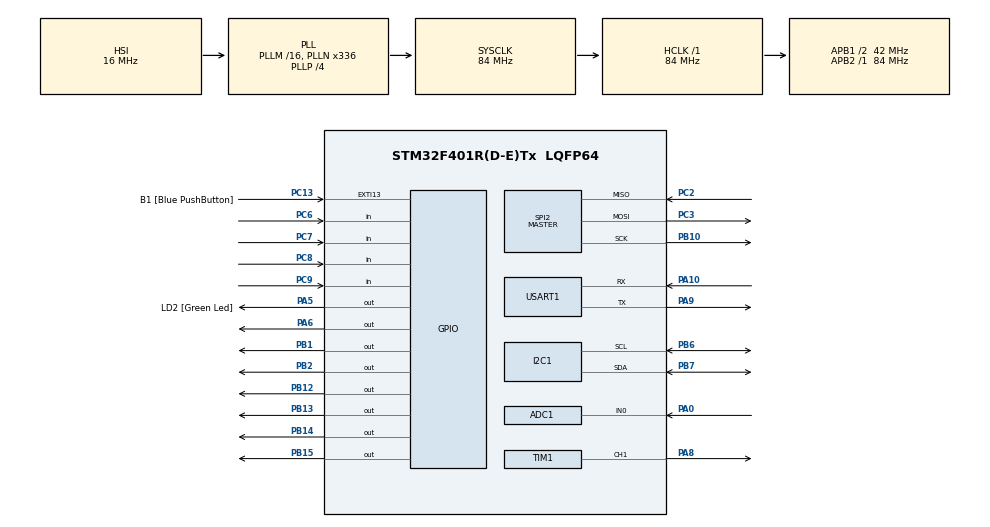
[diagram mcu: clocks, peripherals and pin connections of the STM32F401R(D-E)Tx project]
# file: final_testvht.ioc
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ADC1.Channel-0\#ChannelRegularConversion=ADC_CHANNEL_0
ADC1.NbrOfConversionFlag=1
ADC1.Rank-0\#ChannelRegularConversion=1
ADC1.SamplingTime-0\#ChannelRegularConversion=ADC_SAMPLETIME_480CYCLES
ADC1.master=1
FATFS._MAX_SS=4096
FATFS._USE_LFN=1
Mcu.Family=STM32F4
Mcu.Name=STM32F401R(D-E)Tx
Mcu.Package=LQFP64
NVIC.PriorityGroup=NVIC_PRIORITYGROUP_4
NVIC.TIM4_IRQn=true\:15\:0\:false\:false\:true\:false\:true\:true
NVIC.TimeBase=TIM4_IRQn
NVIC.TimeBaseIP=TIM4
PA0-WKUP.Signal=ADCx_IN0
PA10.Mode=Asynchronous
PA10.Signal=USART1_RX
PA13.GPIO_Label=TMS
PA13.Signal=SYS_JTMS-SWDIO
PA14.GPIO_Label=TCK
PA14.Signal=SYS_JTCK-SWCLK
PA2.GPIO_Label=USART_TX
PA2.GPIO_Mode=GPIO_MODE_AF_PP
PA2.GPIO_PuPd=GPIO_NOPULL
PA2.GPIO_Speed=GPIO_SPEED_FREQ_LOW
PA2.Signal=USART2_TX
PA3.GPIO_Label=USART_RX
PA3.GPIO_Mode=GPIO_MODE_AF_PP
PA3.GPIO_PuPd=GPIO_NOPULL
PA3.GPIO_Speed=GPIO_SPEED_FREQ_LOW
PA3.Signal=USART2_RX
PA5.GPIO_Label=LD2 [Green Led]
PA5.GPIO_Mode=GPIO_MODE_OUTPUT_PP
PA5.GPIO_PuPd=GPIO_NOPULL
PA5.GPIO_Speed=GPIO_SPEED_FREQ_LOW
PA5.Signal=GPIO_Output
PA6.Signal=GPIO_Output
PA8.Signal=S_TIM1_CH1
PA9.Mode=Asynchronous
PA9.Signal=USART1_TX
PB1.Signal=GPIO_Output
PB10.Mode=Full_Duplex_Master
PB10.Signal=SPI2_SCK
PB12.PinState=GPIO_PIN_SET
PB12.Signal=GPIO_Output
PB13.PinState=GPIO_PIN_SET
PB13.Signal=GPIO_Output
PB14.PinState=GPIO_PIN_SET
PB14.Signal=GPIO_Output
PB15.PinState=GPIO_PIN_SET
PB15.Signal=GPIO_Output
PB2.Signal=GPIO_Output
PB3.GPIO_Label=SWO
PB3.Signal=SYS_JTDO-SWO
PB6.Mode=I2C
PB6.Signal=I2C1_SCL
PB7.Mode=I2C
PB7.Signal=I2C1_SDA
PC13-ANTI_TAMP.GPIO_Label=B1 [Blue PushButton]
PC13-ANTI_TAMP.GPIO_ModeDefaultEXTI=GPIO_MODE_IT_FALLING
PC13-ANTI_TAMP.GPIO_PuPd=GPIO_NOPULL
PC13-ANTI_TAMP.Signal=GPXTI13
PC14-OSC32_IN.Signal=RCC_OSC32_IN
PC15-OSC32_OUT.Signal=RCC_OSC32_OUT
PC2.Mode=Full_Duplex_Master
PC2.Signal=SPI2_MISO
PC3.Mode=Full_Duplex_Master
PC3.Signal=SPI2_MOSI
PC6.GPIO_PuPd=GPIO_PULLUP
PC6.Signal=GPIO_Input
PC7.GPIO_PuPd=GPIO_PULLUP
PC7.Signal=GPIO_Input
PC8.GPIO_PuPd=GPIO_PULLUP
PC8.Signal=GPIO_Input
PC9.GPIO_PuPd=GPIO_PULLUP
PC9.Signal=GPIO_Input
PH0\ -\ OSC_IN.Signal=RCC_OSC_IN
PH1\ -\ OSC_OUT.Signal=RCC_OSC_OUT
ProjectManager.HeapSize=0x200
ProjectManager.StackSize=0x400
ProjectManager.TargetToolchain=STM32CubeIDE
RCC.AHBFreq_Value=84000000
RCC.APB1CLKDivider=RCC_HCLK_DIV2
RCC.APB1Freq_Value=42000000
RCC.APB1TimFreq_Value=84000000
RCC.APB2Freq_Value=84000000
RCC.APB2TimFreq_Value=84000000
RCC.CortexFreq_Value=84000000
RCC.HCLKFreq_Value=84000000
RCC.HSE_VALUE=8000000
RCC.HSI_VALUE=16000000
RCC.LSE_VALUE=32768
RCC.PLLN=336
RCC.PLLP=RCC_PLLP_DIV4
RCC.PLLQ=7
RCC.SYSCLKFreq_VALUE=84000000
RCC.SYSCLKSource=RCC_SYSCLKSOURCE_PLLCLK
RCC.VCOOutputFreq_Value=336000000
SH.ADCx_IN0.0=ADC1_IN0,IN0
SH.S_TIM1_CH1.0=TIM1_CH1,PWM Generation1 CH1
SPI2.BaudRatePrescaler=SPI_BAUDRATEPRESCALER_8
SPI2.DataSize=SPI_DATASIZE_8BIT
SPI2.Direction=SPI_DIRECTION_2LINES
SPI2.Mode=SPI_MODE_MASTER
SPI2.VirtualType=VM_MASTER
TIM1.Channel-PWM\ Generation1\ CH1=TIM_CHANNEL_1
TIM1.Period=1000-1
TIM1.Prescaler=84-1
USART1.VirtualMode=VM_ASYNC
VP_FATFS_VS_Generic.Mode=User_defined
VP_SYS_VS_tim4.Mode=TIM4
VP_TIM1_VS_ClockSourceINT.Mode=Internal
board=NUCLEO-F401RE

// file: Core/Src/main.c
/* USER CODE BEGIN Header */
/**
  ******************************************************************************
  * @file           : main.c
  * @brief          : Main program body
  ******************************************************************************
  * @attention
  *
  * Copyright (c) 2025 STMicroelectronics.
  * All rights reserved.
  *
  * This software is licensed under terms that can be found in the LICENSE file
  * in the root directory of this software component.
  * If no LICENSE file comes with this software, it is provided AS-IS.
  *
  ******************************************************************************
  */
/* USER CODE END Header */
#include "main.h"
#include "fatfs.h"

ADC_HandleTypeDef hadc1;

I2C_HandleTypeDef hi2c1;

SPI_HandleTypeDef hspi2;

TIM_HandleTypeDef htim1;

UART_HandleTypeDef huart1;

/* USER CODE BEGIN PV */
CLCD_I2C_Name LCD1;

TaskHandle_t handle_sensor_task;
TaskHandle_t handle_print_task;
TaskHandle_t handle_scan_keypad_task;
TaskHandle_t handle_menuconfig_task;
TaskHandle_t handle_password_task;
TaskHandle_t handle_motor_task;
TaskHandle_t handle_sd_card_task;
//void sd_card_task(void *param);
QueueHandle_t q_print;
SemaphoreHandle_t xSemaphore;

//state variable
state_t curr_state = sRunning;

// init name of file in sd card
char str[15]={0};

//innit parameter
Parameter_Infor parameter =
{
		"123123",
		80,
		5,
		20,
		5,
		0
};

Parameter_Infor parameter_read;

FATFS fs;  // file system
FIL fil; // File
FRESULT fresult;  // result
UINT br, bw;  // File read/write count

// buffer is sended to sd card
#define BUFFER_SIZE 50
char buffer[BUFFER_SIZE];  // to store strings..

// init timer of fatfs
volatile uint8_t FatFsCnt = 0;
volatile uint8_t Timer1, Timer2;

void SDTimer_Handler(void)
{
  if(Timer1 > 0)
    Timer1--;

  if(Timer2 > 0)
    Timer2--;
}

/* USER CODE END PV */

void SystemClock_Config(void);
static void MX_GPIO_Init(void);
static void MX_I2C1_Init(void);
static void MX_TIM1_Init(void);
static void MX_USART1_UART_Init(void);
static void MX_SPI2_Init(void);
static void MX_ADC1_Init(void);

/* USER CODE BEGIN 0 */

void clear_buffer (void)
{
	for (int i=0; i<BUFFER_SIZE; i++) buffer[i] = '\0';
}

int bufsize(char *buf)
{
	int i=0;
	while(*buf++ != '\0')
	{
		i++;
	}
	return i;
}
/* USER CODE END 0 */

int main(void)
{

  /* USER CODE BEGIN 1 */
	BaseType_t status;
  /* USER CODE END 1 */

  /* MCU Configuration--------------------------------------------------------*/

  /* Reset of all peripherals, Initializes the Flash interface and the Systick. */
  HAL_Init();

  /* Configure the system clock */
  SystemClock_Config();

  /* Initialize all configured peripherals */
  MX_GPIO_Init();
  MX_I2C1_Init();
  MX_TIM1_Init();
  MX_USART1_UART_Init();
  MX_SPI2_Init();
  MX_FATFS_Init();
  MX_ADC1_Init();
  /* USER CODE BEGIN 2 */
  // init lcd
  CLCD_I2C_Init(&LCD1,&hi2c1,0x4e,20,4);

  // write parameter into flash
//     flash_unlock();
//     if(flash_erease(FLASH_SECTOR_7) == HAL_OK)
//     flash_write_arr(0x08060000,(uint8_t *)&parameter,sizeof(parameter));
//     flash_lock();

  // read parameter from flash
  //flash_unlock();
  flash_read_arr(0x08060000, (uint8_t*)&parameter_read, sizeof(parameter_read));
  //flash_lock();
  print_cli("read first - s1:%d s2:%d s3:%d s4:%d\n",parameter_read.s1,parameter_read.t1,parameter_read.s2,parameter_read.t2);

  sprintf(str, "file%d.txt", parameter_read.file_counter);
  print_cli("%s\n",str);
  parameter_read.file_counter ++;
  // write parameter into flash
     flash_unlock();
     if(flash_erease(FLASH_SECTOR_7) != HAL_OK){
    	 flash_erease(FLASH_SECTOR_7);
     }
     flash_write_arr(0x08060000,(uint8_t *)&parameter_read,sizeof(parameter_read));
     flash_lock();

     // init fatfs
     fresult = f_mount(&fs, "/", 1);
     if (fresult != FR_OK)  print_cli("ERROR!!! in mounting SD CARD...\n\n");
     else print_cli("SD CARD mounted successfully...\n\n");

// create tasks
  status = xTaskCreate(sensor_task, "sensor_task", 250, NULL, 2, &handle_sensor_task);

  configASSERT(status);

  status = xTaskCreate(scan_keypad_task, "scan_keypad_task", 250, NULL, 3, &handle_scan_keypad_task);

  configASSERT(status);

  status = xTaskCreate(print_task, "print_task", 150, NULL, 1, &handle_print_task);

  configASSERT(status);

  status = xTaskCreate(motor_task, "motor_task", 200, NULL, 3, &handle_motor_task);

  configASSERT(status);

  status = xTaskCreate(menuconfig_task, "menuconfig_task", 200, NULL, 1, &handle_menuconfig_task);

  configASSERT(status);

  status = xTaskCreate(password_task, "password_task", 100, NULL, 1, &handle_password_task);

  configASSERT(status);

  status = xTaskCreate(sd_card_task, "sd_card_task", 250, NULL, 1, &handle_sd_card_task);

  configASSERT(status);

  // create queues
  q_print = xQueueCreate(10, sizeof(size_t));

  configASSERT(q_print != NULL);

  // create semaphore
  xSemaphore = xSemaphoreCreateBinary();

  // start schedule
  vTaskStartScheduler();
  /* USER CODE END 2 */

  /* Infinite loop */
  while (1)
  {

  }
}

void SystemClock_Config(void)
{
  RCC_OscInitTypeDef RCC_OscInitStruct = {0};
  RCC_ClkInitTypeDef RCC_ClkInitStruct = {0};

  /** Configure the main internal regulator output voltage
  */
  __HAL_RCC_PWR_CLK_ENABLE();
  __HAL_PWR_VOLTAGESCALING_CONFIG(PWR_REGULATOR_VOLTAGE_SCALE2);

  /** Initializes the RCC Oscillators according to the specified parameters
  * in the RCC_OscInitTypeDef structure.
  */
  RCC_OscInitStruct.OscillatorType = RCC_OSCILLATORTYPE_HSI;
  RCC_OscInitStruct.HSIState = RCC_HSI_ON;
  RCC_OscInitStruct.HSICalibrationValue = RCC_HSICALIBRATION_DEFAULT;
  RCC_OscInitStruct.PLL.PLLState = RCC_PLL_ON;
  RCC_OscInitStruct.PLL.PLLSource = RCC_PLLSOURCE_HSI;
  RCC_OscInitStruct.PLL.PLLM = 16;
  RCC_OscInitStruct.PLL.PLLN = 336;
  RCC_OscInitStruct.PLL.PLLP = RCC_PLLP_DIV4;
  RCC_OscInitStruct.PLL.PLLQ = 7;
  if (HAL_RCC_OscConfig(&RCC_OscInitStruct) != HAL_OK)
  {
    Error_Handler();
  }

  /** Initializes the CPU, AHB and APB buses clocks
  */
  RCC_ClkInitStruct.ClockType = RCC_CLOCKTYPE_HCLK|RCC_CLOCKTYPE_SYSCLK
                              |RCC_CLOCKTYPE_PCLK1|RCC_CLOCKTYPE_PCLK2;
  RCC_ClkInitStruct.SYSCLKSource = RCC_SYSCLKSOURCE_PLLCLK;
  RCC_ClkInitStruct.AHBCLKDivider = RCC_SYSCLK_DIV1;
  RCC_ClkInitStruct.APB1CLKDivider = RCC_HCLK_DIV2;
  RCC_ClkInitStruct.APB2CLKDivider = RCC_HCLK_DIV1;

  if (HAL_RCC_ClockConfig(&RCC_ClkInitStruct, FLASH_LATENCY_2) != HAL_OK)
  {
    Error_Handler();
  }
}

static void MX_ADC1_Init(void)
{

  ADC_ChannelConfTypeDef sConfig = {0};

  /** Configure the global features of the ADC (Clock, Resolution, Data Alignment and number of conversion)
  */
  hadc1.Instance = ADC1;
  hadc1.Init.ClockPrescaler = ADC_CLOCK_SYNC_PCLK_DIV4;
  hadc1.Init.Resolution = ADC_RESOLUTION_12B;
  hadc1.Init.ScanConvMode = DISABLE;
  hadc1.Init.ContinuousConvMode = DISABLE;
  hadc1.Init.DiscontinuousConvMode = DISABLE;
  hadc1.Init.ExternalTrigConvEdge = ADC_EXTERNALTRIGCONVEDGE_NONE;
  hadc1.Init.ExternalTrigConv = ADC_SOFTWARE_START;
  hadc1.Init.DataAlign = ADC_DATAALIGN_RIGHT;
  hadc1.Init.NbrOfConversion = 1;
  hadc1.Init.DMAContinuousRequests = DISABLE;
  hadc1.Init.EOCSelection = ADC_EOC_SINGLE_CONV;
  if (HAL_ADC_Init(&hadc1) != HAL_OK)
  {
    Error_Handler();
  }

  /** Configure for the selected ADC regular channel its corresponding rank in the sequencer and its sample time.
  */
  sConfig.Channel = ADC_CHANNEL_0;
  sConfig.Rank = 1;
  sConfig.SamplingTime = ADC_SAMPLETIME_480CYCLES;
  if (HAL_ADC_ConfigChannel(&hadc1, &sConfig) != HAL_OK)
  {
    Error_Handler();
  }

}

static void MX_I2C1_Init(void)
{

  hi2c1.Instance = I2C1;
  hi2c1.Init.ClockSpeed = 100000;
  hi2c1.Init.DutyCycle = I2C_DUTYCYCLE_2;
  hi2c1.Init.OwnAddress1 = 0;
  hi2c1.Init.AddressingMode = I2C_ADDRESSINGMODE_7BIT;
  hi2c1.Init.DualAddressMode = I2C_DUALADDRESS_DISABLE;
  hi2c1.Init.OwnAddress2 = 0;
  hi2c1.Init.GeneralCallMode = I2C_GENERALCALL_DISABLE;
  hi2c1.Init.NoStretchMode = I2C_NOSTRETCH_DISABLE;
  if (HAL_I2C_Init(&hi2c1) != HAL_OK)
  {
    Error_Handler();
  }

}

static void MX_SPI2_Init(void)
{

  /* SPI2 parameter configuration*/
  hspi2.Instance = SPI2;
  hspi2.Init.Mode = SPI_MODE_MASTER;
  hspi2.Init.Direction = SPI_DIRECTION_2LINES;
  hspi2.Init.DataSize = SPI_DATASIZE_8BIT;
  hspi2.Init.CLKPolarity = SPI_POLARITY_LOW;
  hspi2.Init.CLKPhase = SPI_PHASE_1EDGE;
  hspi2.Init.NSS = SPI_NSS_SOFT;
  hspi2.Init.BaudRatePrescaler = SPI_BAUDRATEPRESCALER_8;
  hspi2.Init.FirstBit = SPI_FIRSTBIT_MSB;
  hspi2.Init.TIMode = SPI_TIMODE_DISABLE;
  hspi2.Init.CRCCalculation = SPI_CRCCALCULATION_DISABLE;
  hspi2.Init.CRCPolynomial = 10;
  if (HAL_SPI_Init(&hspi2) != HAL_OK)
  {
    Error_Handler();
  }

}

static void MX_TIM1_Init(void)
{

  TIM_ClockConfigTypeDef sClockSourceConfig = {0};
  TIM_MasterConfigTypeDef sMasterConfig = {0};
  TIM_OC_InitTypeDef sConfigOC = {0};
  TIM_BreakDeadTimeConfigTypeDef sBreakDeadTimeConfig = {0};

  htim1.Instance = TIM1;
  htim1.Init.Prescaler = 84-1;
  htim1.Init.CounterMode = TIM_COUNTERMODE_UP;
  htim1.Init.Period = 1000-1;
  htim1.Init.ClockDivision = TIM_CLOCKDIVISION_DIV1;
  htim1.Init.RepetitionCounter = 0;
  htim1.Init.AutoReloadPreload = TIM_AUTORELOAD_PRELOAD_DISABLE;
  if (HAL_TIM_Base_Init(&htim1) != HAL_OK)
  {
    Error_Handler();
  }
  sClockSourceConfig.ClockSource = TIM_CLOCKSOURCE_INTERNAL;
  if (HAL_TIM_ConfigClockSource(&htim1, &sClockSourceConfig) != HAL_OK)
  {
    Error_Handler();
  }
  if (HAL_TIM_PWM_Init(&htim1) != HAL_OK)
  {
    Error_Handler();
  }
  sMasterConfig.MasterOutputTrigger = TIM_TRGO_RESET;
  sMasterConfig.MasterSlaveMode = TIM_MASTERSLAVEMODE_DISABLE;
  if (HAL_TIMEx_MasterConfigSynchronization(&htim1, &sMasterConfig) != HAL_OK)
  {
    Error_Handler();
  }
  sConfigOC.OCMode = TIM_OCMODE_PWM1;
  sConfigOC.Pulse = 0;
  sConfigOC.OCPolarity = TIM_OCPOLARITY_HIGH;
  sConfigOC.OCNPolarity = TIM_OCNPOLARITY_HIGH;
  sConfigOC.OCFastMode = TIM_OCFAST_DISABLE;
  sConfigOC.OCIdleState = TIM_OCIDLESTATE_RESET;
  sConfigOC.OCNIdleState = TIM_OCNIDLESTATE_RESET;
  if (HAL_TIM_PWM_ConfigChannel(&htim1, &sConfigOC, TIM_CHANNEL_1) != HAL_OK)
  {
    Error_Handler();
  }
  sBreakDeadTimeConfig.OffStateRunMode = TIM_OSSR_DISABLE;
  sBreakDeadTimeConfig.OffStateIDLEMode = TIM_OSSI_DISABLE;
  sBreakDeadTimeConfig.LockLevel = TIM_LOCKLEVEL_OFF;
  sBreakDeadTimeConfig.DeadTime = 0;
  sBreakDeadTimeConfig.BreakState = TIM_BREAK_DISABLE;
  sBreakDeadTimeConfig.BreakPolarity = TIM_BREAKPOLARITY_HIGH;
  sBreakDeadTimeConfig.AutomaticOutput = TIM_AUTOMATICOUTPUT_DISABLE;
  if (HAL_TIMEx_ConfigBreakDeadTime(&htim1, &sBreakDeadTimeConfig) != HAL_OK)
  {
    Error_Handler();
  }
  HAL_TIM_MspPostInit(&htim1);

}

static void MX_USART1_UART_Init(void)
{

  huart1.Instance = USART1;
  huart1.Init.BaudRate = 115200;
  huart1.Init.WordLength = UART_WORDLENGTH_8B;
  huart1.Init.StopBits = UART_STOPBITS_1;
  huart1.Init.Parity = UART_PARITY_NONE;
  huart1.Init.Mode = UART_MODE_TX_RX;
  huart1.Init.HwFlowCtl = UART_HWCONTROL_NONE;
  huart1.Init.OverSampling = UART_OVERSAMPLING_16;
  if (HAL_UART_Init(&huart1) != HAL_OK)
  {
    Error_Handler();
  }

}

static void MX_GPIO_Init(void)
{
  GPIO_InitTypeDef GPIO_InitStruct = {0};

  /* GPIO Ports Clock Enable */
  __HAL_RCC_GPIOC_CLK_ENABLE();
  __HAL_RCC_GPIOH_CLK_ENABLE();
  __HAL_RCC_GPIOA_CLK_ENABLE();
  __HAL_RCC_GPIOB_CLK_ENABLE();

  /*Configure GPIO pin Output Level */
  HAL_GPIO_WritePin(GPIOA, LD2_Pin|GPIO_PIN_6, GPIO_PIN_RESET);

  /*Configure GPIO pin Output Level */
  HAL_GPIO_WritePin(GPIOB, GPIO_PIN_1|GPIO_PIN_2, GPIO_PIN_RESET);

  /*Configure GPIO pin Output Level */
  HAL_GPIO_WritePin(GPIOB, GPIO_PIN_12|GPIO_PIN_13|GPIO_PIN_14|GPIO_PIN_15, GPIO_PIN_SET);

  /*Configure GPIO pin : B1_Pin */
  GPIO_InitStruct.Pin = B1_Pin;
  GPIO_InitStruct.Mode = GPIO_MODE_IT_FALLING;
  GPIO_InitStruct.Pull = GPIO_NOPULL;
  HAL_GPIO_Init(B1_GPIO_Port, &GPIO_InitStruct);

  /*Configure GPIO pins : USART_TX_Pin USART_RX_Pin */
  GPIO_InitStruct.Pin = USART_TX_Pin|USART_RX_Pin;
  GPIO_InitStruct.Mode = GPIO_MODE_AF_PP;
  GPIO_InitStruct.Pull = GPIO_NOPULL;
  GPIO_InitStruct.Speed = GPIO_SPEED_FREQ_LOW;
  GPIO_InitStruct.Alternate = GPIO_AF7_USART2;
  HAL_GPIO_Init(GPIOA, &GPIO_InitStruct);

  /*Configure GPIO pins : LD2_Pin PA6 */
  GPIO_InitStruct.Pin = LD2_Pin|GPIO_PIN_6;
  GPIO_InitStruct.Mode = GPIO_MODE_OUTPUT_PP;
  GPIO_InitStruct.Pull = GPIO_NOPULL;
  GPIO_InitStruct.Speed = GPIO_SPEED_FREQ_LOW;
  HAL_GPIO_Init(GPIOA, &GPIO_InitStruct);

  /*Configure GPIO pins : PB1 PB2 PB12 PB13
                           PB14 PB15 */
  GPIO_InitStruct.Pin = GPIO_PIN_1|GPIO_PIN_2|GPIO_PIN_12|GPIO_PIN_13
                          |GPIO_PIN_14|GPIO_PIN_15;
  GPIO_InitStruct.Mode = GPIO_MODE_OUTPUT_PP;
  GPIO_InitStruct.Pull = GPIO_NOPULL;
  GPIO_InitStruct.Speed = GPIO_SPEED_FREQ_LOW;
  HAL_GPIO_Init(GPIOB, &GPIO_InitStruct);

  /*Configure GPIO pins : PC6 PC7 PC8 PC9 */
  GPIO_InitStruct.Pin = GPIO_PIN_6|GPIO_PIN_7|GPIO_PIN_8|GPIO_PIN_9;
  GPIO_InitStruct.Mode = GPIO_MODE_INPUT;
  GPIO_InitStruct.Pull = GPIO_PULLUP;
  HAL_GPIO_Init(GPIOC, &GPIO_InitStruct);

}

/* USER CODE BEGIN 4 */
extern float temp;
void sd_card_task(void *param){
	static char show_data[40];
	const char* msg_error_open = "error open sd card to write\n";
	const char* msg_error_write = "error write to sd card\n";
	const char* msg_lseek = "error lseek\n";
	const char* msg_write = "write to sd card sucessfully\n";
//	const char* msg_read = "read sucessfully\n";
//	const char* msg_error_open_read = "error open file to read\n";
//	UBaseType_t uxHighWaterMark;
	while(1){
	   	/************* The following operation is using PUTS and GETS *********************/
	   	/* Open file to write/ create a file if it doesn't exist */
		if (xSemaphoreTake(xSemaphore, portMAX_DELAY) == pdTRUE) {
		sprintf((char*)show_data,"s1:%d t1:%d s2:%d t2:%d T:%.2f\n",parameter_read.s1,parameter_read.t1,parameter_read.s2,parameter_read.t2,temp);
	    fresult = f_open(&fil, str, FA_OPEN_ALWAYS | FA_READ | FA_WRITE);

	    if(fresult != FR_OK) xQueueSend(q_print,&msg_error_open,portMAX_DELAY);
	    fresult = f_lseek(&fil, f_size(&fil));
	    if(fresult != FR_OK) xQueueSend(q_print,&msg_lseek,portMAX_DELAY);
	   	/* Writing text */
	   	f_puts(show_data, &fil);

	   	/* Close file */

	   	fresult = f_close(&fil);
	   	if (fresult != FR_OK) xQueueSend(q_print,&msg_error_write,portMAX_DELAY);
	   	else xQueueSend(q_print,&msg_write,portMAX_DELAY);

//	  	fresult = f_open(&fil, str, FA_READ);
//        if(fresult != FR_OK) xQueueSend(q_print,&msg_error_open_read,portMAX_DELAY);
//        else xQueueSend(q_print,&msg_read,portMAX_DELAY);
//	  	/* Read string from the file */
//	  	f_gets(buffer, f_size(&fil), &fil);
//	  	xQueueSend(q_print,buffer,portMAX_DELAY);

	   	clear_buffer();

//	   			  uxHighWaterMark = uxTaskGetStackHighWaterMark( NULL );
//	   			  print_cli("sd card task: %lu bytes\n", uxHighWaterMark);
		}
	}
}
/* USER CODE END 4 */

void HAL_TIM_PeriodElapsedCallback(TIM_HandleTypeDef *htim)
{
  /* USER CODE BEGIN Callback 0 */
	  FatFsCnt++;
	  if(FatFsCnt >= 10)
	  {
	    FatFsCnt = 0;
	    SDTimer_Handler();
	  }
  /* USER CODE END Callback 0 */
  if (htim->Instance == TIM4) {
    HAL_IncTick();
  }
}

void Error_Handler(void)
{
  __disable_irq();
  while (1)
  {
  }
}
